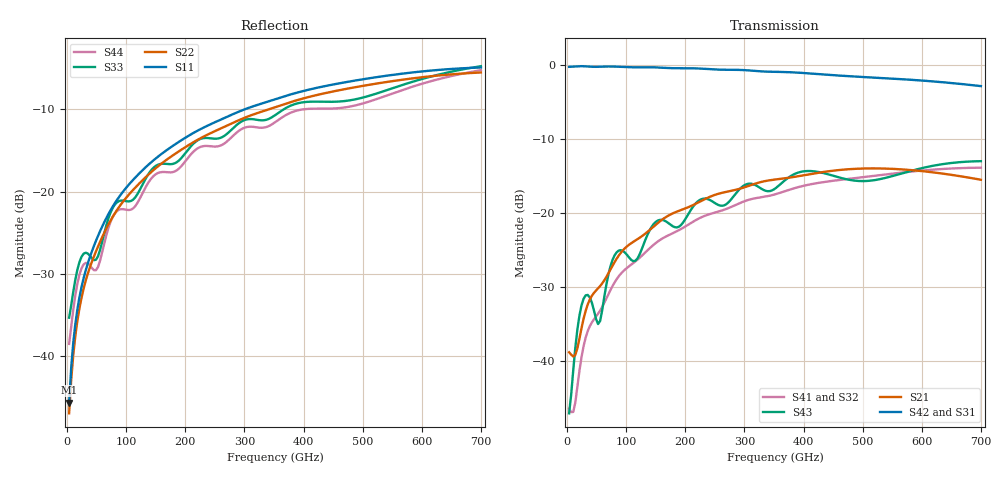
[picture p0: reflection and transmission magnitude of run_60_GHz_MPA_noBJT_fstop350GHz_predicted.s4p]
#  Hz  S  RI  R  50
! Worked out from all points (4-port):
!   200 points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, 3.5 GHz to 700 GHz, reference 50 ohm
!   strongest paths, dB at 3.5 GHz, 178.5 GHz, 353.5 GHz, 528.5 GHz, 700 GHz:
!     S42: -0.2, -0.4, -0.9, -1.7, -2.8
!     S31: -0.3, -0.5, -1.1, -2.0, -3.2
!     S21: -38.8, -20.0, -15.4, -13.9, -15.5
!     S43: -47.0, -21.7, -16.6, -15.4, -13.0
!     S41: -46.4, -22.7, -17.4, -14.9, -13.8
!     S32: -47.9, -22.8, -17.4, -14.9, -13.8
!   lowest |S11| = -45.6 dB at 3.5 GHz (marker M1), VSWR 1.01, Z = 50.3 - j0.401 ohm
!   |S11| at or under -10 dB: start of sweep to 301.2 GHz
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3.5e9  0.00342 -0.00398  0.0118 0.000862  0.9732 -0.007  0.00899 -0.000211
       0.0115 0.000905  0.00311 -0.00327  0.00867 -4.54e-05  0.9767 -0.00722
       0.9692 -0.00652  0.00394 0.000784  0.0171 0.00109  0.000581 -0.00326
       0.00476 0.000659  0.9738 -0.00671  0.00253 -0.00368  0.0118 0.00152
2.8e10  -0.00232 -0.0297  0.0112 0.0161  0.9786 -0.0815  0.0052 0.0123
        0.011 0.0161  -0.00114 -0.0257  0.00541 0.0122  0.9805 -0.0785
        0.9767 -0.0815  0.00366 0.0122  0.0259 -0.033  -0.0118 0.0238
        0.00392 0.0121  0.9795 -0.0787  -0.0113 0.024  0.0219 -0.0287
5.25e10  -0.0117 -0.0527  0.0192 0.0246  0.9621 -0.1438  0.0111 0.018
         0.0189 0.0248  -0.00925 -0.0456  0.011 0.0182  0.966 -0.1393
         0.9597 -0.1439  0.00795 0.0192  0.0176 -0.0366  -0.0002 0.0183
         0.0084 0.0192  0.9642 -0.139  0.000944 0.0179  0.014 -0.032
8.05e10  -0.0307 -0.0789  0.026 0.0391  0.9487 -0.2253  0.0141 0.0319
         0.0259 0.0391  -0.025 -0.0691  0.0143 0.0317  0.9534 -0.2174
         0.9475 -0.2261  0.0125 0.0315  0.0214 -0.0803  -0.00476 0.0515
         0.0129 0.0316  0.9528 -0.2181  -0.00413 0.0519  0.0184 -0.071
1.505e11  -0.109 -0.1162  0.0643 0.0543  0.8709 -0.4008  0.04 0.0503
          0.0642 0.0543  -0.0928 -0.1036  0.04 0.0502  0.8821 -0.3889
          0.8714 -0.4036  0.0383 0.0497  -0.000264 -0.1435  0.0171 0.0854
          0.0388 0.0499  0.8827 -0.3908  0.0179 0.0859  0.000636 -0.1277
4.2e11  -0.3703 0.2067  0.1513 -0.1096  0.3362 -0.7609  0.1582 -0.0279
        0.1511 -0.109  -0.341 0.1753  0.1578 -0.0259  0.3712 -0.7715
        0.328 -0.7879  0.1563 -0.0286  -0.1732 -0.3056  0.1516 0.1164
        0.1564 -0.0291  0.367 -0.792  0.152 0.1165  -0.1455 -0.2833
7e11  0.0312 0.5653  -0.0802 -0.1477  -0.1753 -0.6566  0.0597 -0.1884
      -0.0803 -0.148  0.00891 0.5278  0.0641 -0.1862  -0.1661 -0.6906
      -0.2219 -0.6588  0.0573 -0.1949  -0.3941 -0.4208  0.2105 0.0766
      0.057 -0.1949  -0.1977 -0.6941  0.2089 0.0829  -0.3538 -0.4149
